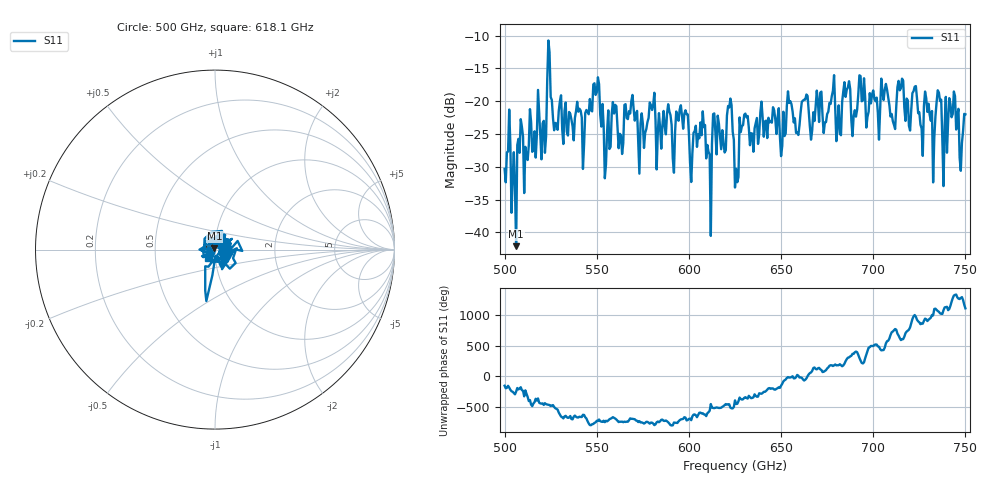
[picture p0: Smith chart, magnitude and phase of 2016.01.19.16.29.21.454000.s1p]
!Created with skrf (http://scikit-rf.org).
# GHz S RI R 50.0
!freq ReS11 ImS11
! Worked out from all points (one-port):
!   401 points, 500 GHz to 750 GHz, reference 50 ohm
!   lowest |S11| = -42.1 dB at 506.2 GHz (marker M1), VSWR 1.02, Z = 49.7 + j0.708 ohm
!   |S11| at or under -10 dB: start of sweep to end of sweep
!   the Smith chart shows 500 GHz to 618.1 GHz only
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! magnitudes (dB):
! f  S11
! 500 GHz  -30.3
! 506.2 GHz  -42.1
! 508.8 GHz  -22.7
! 521.2 GHz  -23.0
! 524.4 GHz  -12.6
! 527.5 GHz  -23.3
! 531.2 GHz  -24.3
! 543.1 GHz  -26.6
! 550 GHz  -18.6
! 553.8 GHz  -23.8
! 559.4 GHz  -21.9
! 562.5 GHz  -25.0
! 568.8 GHz  -20.0
! 574.4 GHz  -21.8
! 593.8 GHz  -22.4
! 601.2 GHz  -32.3
! 607.5 GHz  -21.5
! 610.6 GHz  -27.7
! 621.9 GHz  -21.0
! 625 GHz  -33.2
! 630.6 GHz  -21.9
! 656.2 GHz  -21.6
! 687.5 GHz  -18.1
! 705.6 GHz  -19.8
! 710.6 GHz  -23.0
! 715 GHz  -18.0
! 718.8 GHz  -19.9
! 750 GHz  -22.0
